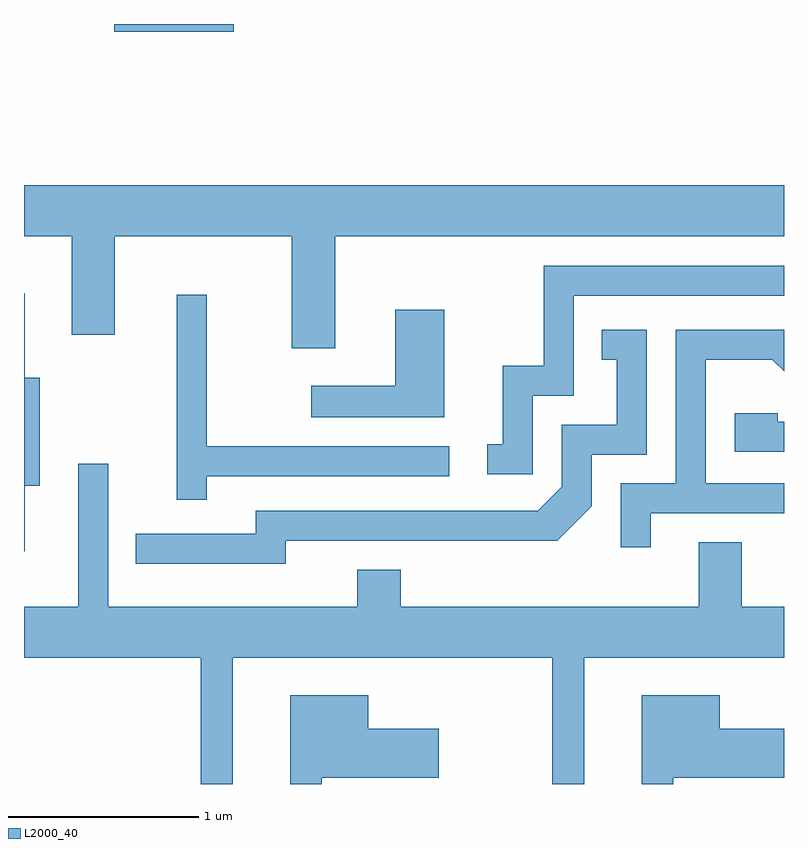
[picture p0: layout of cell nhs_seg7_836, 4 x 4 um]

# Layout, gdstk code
import gdstk
lib = gdstk.Library(unit=1e-6, precision=1e-09)
def R(c, l, rs):  # rectangles x0, y0, x1, y1
    for r in rs: c.add(gdstk.rectangle(r[:2], r[2:], *l))
def P(c, l, *ps):  # polygons
    for p in ps: c.add(gdstk.Polygon(p, *l))
L2000_40 = (2000, 40)

nhs_seg7_836 = lib.new_cell('nhs_seg7_836')
R(nhs_seg7_836, L2000_40, [(210.086,1784.211,210.714,1784.252)])
P(nhs_seg7_836, L2000_40, [(211.249,1783.136),(213.611,1783.136),(213.611,1783.404),(209.611,1783.404),(209.611,1783.136),(209.861,1783.136),(209.861,1782.616),(210.089,1782.616),(210.089,1783.136),(211.021,1783.136),(211.021,1782.546),(211.249,1782.546)],
  [(212.289,1782.296),(212.504,1782.296),(212.504,1782.821),(213.611,1782.821),(213.611,1782.979),(212.346,1782.979),(212.346,1782.454),(212.131,1782.454),(212.131,1782.039),(212.048,1782.039),(212.048,1781.881),(212.289,1781.881)],
  [(209.614,1781.821),(209.694,1781.821),(209.694,1782.389),(209.614,1782.389),(209.614,1782.834),(209.611,1782.834),(209.611,1781.476),(209.614,1781.476)],
  [(210.574,1781.871),(211.848,1781.871),(211.848,1782.029),(210.574,1782.029),(210.574,1782.828),(210.416,1782.828),(210.416,1781.748),(210.574,1781.748)],
  [(211.824,1782.749),(211.566,1782.749),(211.566,1782.349),(211.123,1782.349),(211.123,1782.181),(211.824,1782.181)],
  [(210.989,1781.531),(212.417,1781.531),(212.599,1781.714),(212.599,1781.986),(212.889,1781.986),(212.889,1782.644),(212.653,1782.644),(212.653,1782.486),(212.731,1782.486),(212.731,1782.144),(212.441,1782.144),(212.441,1781.817),(212.314,1781.689),(210.831,1781.689),(210.831,1781.569),(210.198,1781.569),(210.198,1781.411),(210.989,1781.411)],
  [(212.909,1781.676),(213.611,1781.676),(213.611,1781.834),(213.199,1781.834),(213.199,1782.486),(213.549,1782.486),(213.611,1782.424),(213.611,1782.644),(213.041,1782.644),(213.041,1781.834),(212.751,1781.834),(212.751,1781.498),(212.909,1781.498)],
  [(213.611,1782.159),(213.579,1782.159),(213.579,1782.204),(213.351,1782.204),(213.351,1782.001),(213.611,1782.001)],
  [(210.709,1780.916),(212.391,1780.916),(212.391,1780.252),(212.559,1780.252),(212.559,1780.916),(213.611,1780.916),(213.611,1781.184),(213.389,1781.184),(213.389,1781.524),(213.161,1781.524),(213.161,1781.184),(211.594,1781.184),(211.594,1781.379),(211.366,1781.379),(211.366,1781.184),(210.054,1781.184),(210.054,1781.938),(209.896,1781.938),(209.896,1781.184),(209.611,1781.184),(209.611,1780.916),(210.541,1780.916),(210.541,1780.252),(210.709,1780.252)],
  [(213.029,1780.286),(213.611,1780.286),(213.611,1780.544),(213.274,1780.544),(213.274,1780.719),(212.861,1780.719),(212.861,1780.252),(213.029,1780.252)],
  [(211.179,1780.286),(211.794,1780.286),(211.794,1780.544),(211.424,1780.544),(211.424,1780.719),(211.011,1780.719),(211.011,1780.252),(211.179,1780.252)])

lib.write_gds('nhs_seg7_836.gds')
